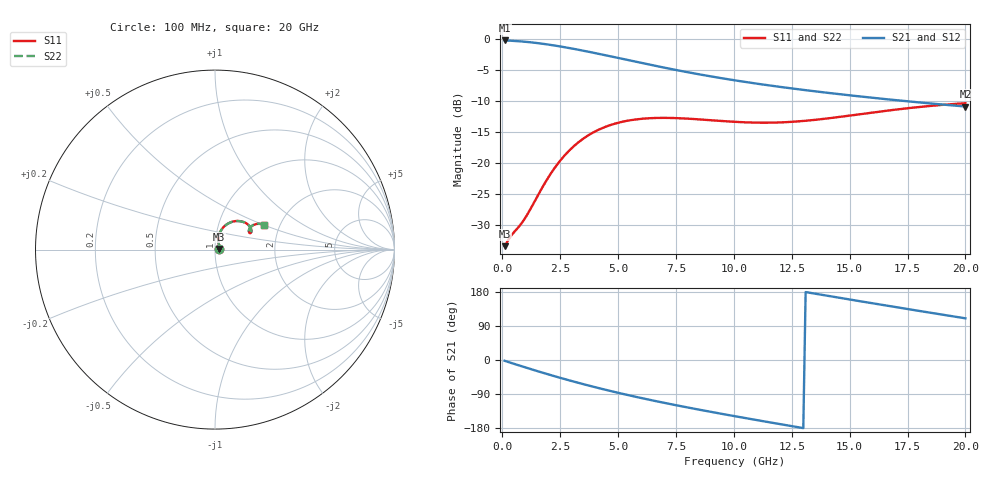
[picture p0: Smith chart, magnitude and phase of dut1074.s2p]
! Touchstone file exported from HFSS 2024.1.0
!  File:  C:/UserFiles/LocalFiles/RDL_TSV_Batchsim/temp_RDL_TSV_1074_1780093989.aedt
!  Generated:  06:49:47 AM May 30, 2026
!  Design:  RDL_TSV
!  Project:  temp_RDL_TSV_1074_1780093989
!  Setup:  Setup1
!  Solution:  Sweep
! Variables:
!  dtsv = 5.53um
!  hbump = 3um
!  htsv = 94.52um
!  ldown = 347.28um
!  lrdl = 627.6um
!  p = 40
!  p1 = 51.48um
!  rhole = 10um
!  subl = 3552.24um
!  t = 450um
!  tdown = 2.03um
!  trdl = 2.83um
!  viad = 10um
!  wdown = 21.7um
!  wrdl = 29.98um
!  xbump = 18um
# GHz S MA R 50.000000
! Terminal data exported
! Port[1] = TM1_1_T1
! Port[2] = TM1_4_T1
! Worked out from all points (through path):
!   200 points, 100 MHz to 20 GHz, reference 50 ohm
!   highest |S21| = -0.19 dB at 100 MHz (marker M1); lowest = -10.8 dB at 20 GHz (marker M2)
!   group delay of S21, straight-line fit = 33.1 ps
!   lowest |S11| = -33.3 dB at 100 MHz (marker M3), VSWR 1.04, Z = 52.2 + j0.409 ohm
!   |S11| at or under -10 dB: start of sweep to end of sweep
!   |S22| runs from -33.3 to -10.3 dB; largest |S21 - S12| = 8.5e-15
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0.1  0.02155 10.5  0.9786 -2.1  0.9786 -2.1  0.02155 10.5
! Gamma 0 0 0 0
! Port Impedance 50 0 50 0
0.4  0.02646 29.1  0.9728 -8.1  0.9728 -8.1  0.02646 29.1
0.9  0.03432 51.2  0.9584 -17.7  0.9584 -17.7  0.03433 51.1
1.4  0.04954 67.8  0.9379 -27.2  0.9379 -27.2  0.04952 67.7
1.9  0.07258 74.1  0.912 -36.4  0.912 -36.4  0.07249 74.0
2.3  0.09413 74.2  0.8884 -43.5  0.8884 -43.5  0.09397 74.1
2.7  0.1165 72.0  0.863 -50.5  0.863 -50.5  0.1163 71.9
3.5  0.1585 64.3  0.8092 -63.8  0.8092 -63.8  0.1581 64.2
4.3  0.1919 55.5  0.7544 -76.2  0.7544 -76.2  0.1915 55.4
5.2  0.2169 46.2  0.6947 -89.4  0.6947 -89.4  0.2163 46.2
6  0.2287 39.2  0.6456 -100.3  0.6456 -100.3  0.2279 39.2
6.8  0.2327 33.6  0.601 -110.7  0.601 -110.7  0.2319 33.5
7.5  0.2318 29.8  0.566 -119.3  0.566 -119.3  0.231 29.8
8.3  0.2277 26.8  0.5304 -128.7  0.5304 -128.7  0.2268 26.9
9.2  0.2215 25.1  0.4955 -139.0  0.4955 -139.0  0.2206 25.2
10.1  0.216 25.0  0.4652 -148.9  0.4652 -148.9  0.2152 25.1
11.7  0.2132 27.4  0.4207 -166.1  0.4207 -166.1  0.2125 27.6
13.4  0.2234 30.8  0.383 176.1  0.383 176.1  0.2229 31.1
15.1  0.2442 32.6  0.3521 158.7  0.3521 158.7  0.244 32.8
16.7  0.2672 32.0  0.3275 142.5  0.3275 142.5  0.2674 32.2
18.3  0.2884 29.7  0.3064 126.6  0.3064 126.6  0.2888 30.0
20  0.3054 26.4  0.2874 110.0  0.2874 110.0  0.3061 26.6
